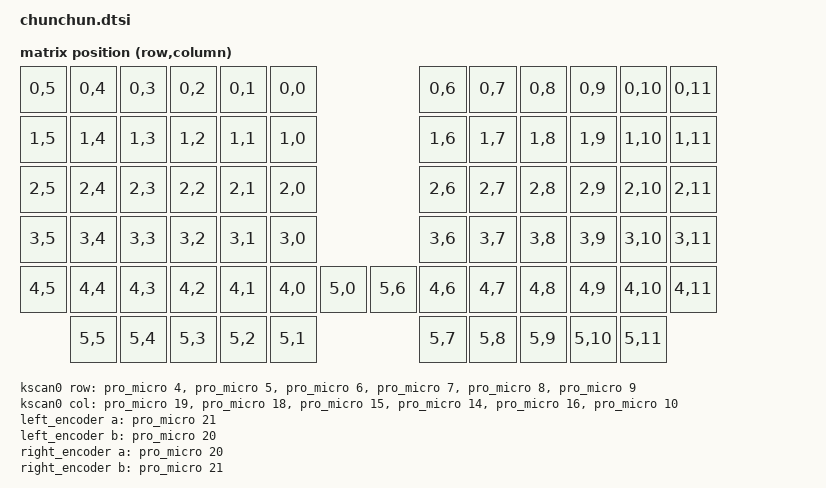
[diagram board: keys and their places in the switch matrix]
#include <dt-bindings/zmk/matrix_transform.h>
#include "phys_layout.dtsi"

&chunchun_layout {
    transform = <&default_transform>;
};


/ {

    chosen {
        zephyr,display = &oled;
        zmk,kscan = &kscan0;
    };

    default_transform: keymap_transform_0 {
        compatible = "zmk,matrix-transform";
        columns = <12>;
        rows = <6>;
        // | 6  | 5  | 4  | 3  | 2  | 1  |    |   |    | 1  | 2  | 3  | 4  | 5  | 6  |
        // | 12 | 11 | 10 | 9  | 8  | 7  |    |   |    | 7  | 8  | 9  | 10 | 11 | 12 |
        // | 18 | 17 | 16 | 15 | 14 | 13 |    |   |    | 13 | 14 | 15 | 16 | 17 | 18 |
        // | 24 | 23 | 22 | 21 | 20 | 19 |    |   |    | 19 | 20 | 21 | 22 | 23 | 24 |
        // | 30 | 29 | 28 | 27 | 26 | 25 | 31 |   | 31 | 25 | 26 | 27 | 28 | 29 | 30 |
        // |    | 36 | 35 | 34 | 33 | 32 |    |   |    | 32 | 33 | 34 | 35 | 36 |    |

        map = <
            RC(0,5) RC(0,4) RC(0,3) RC(0,2) RC(0,1) RC(0,0)                     RC(0,6) RC(0,7) RC(0,8) RC(0,9) RC(0,10) RC(0,11)
            RC(1,5) RC(1,4) RC(1,3) RC(1,2) RC(1,1) RC(1,0)                     RC(1,6) RC(1,7) RC(1,8) RC(1,9) RC(1,10) RC(1,11)
            RC(2,5) RC(2,4) RC(2,3) RC(2,2) RC(2,1) RC(2,0)                     RC(2,6) RC(2,7) RC(2,8) RC(2,9) RC(2,10) RC(2,11)
            RC(3,5) RC(3,4) RC(3,3) RC(3,2) RC(3,1) RC(3,0)                     RC(3,6) RC(3,7) RC(3,8) RC(3,9) RC(3,10) RC(3,11)
            RC(4,5) RC(4,4) RC(4,3) RC(4,2) RC(4,1) RC(4,0) RC(5, 0)    RC(5,6) RC(4,6) RC(4,7) RC(4,8) RC(4,9) RC(4,10) RC(4,11)
                    RC(5,5) RC(5,4) RC(5,3) RC(5,2) RC(5,1)                     RC(5,7) RC(5,8) RC(5,9) RC(5,10) RC(5,11)
        >;

    };


    kscan0: kscan {
        compatible = "zmk,kscan-gpio-matrix";
        wakeup-source;

        diode-direction = "row2col";
        row-gpios
            = <&pro_micro 4 (GPIO_ACTIVE_HIGH | GPIO_PULL_DOWN)>,
              <&pro_micro 5 (GPIO_ACTIVE_HIGH | GPIO_PULL_DOWN)>,
              <&pro_micro 6 (GPIO_ACTIVE_HIGH | GPIO_PULL_DOWN)>,
              <&pro_micro 7 (GPIO_ACTIVE_HIGH | GPIO_PULL_DOWN)>,
              <&pro_micro 8 (GPIO_ACTIVE_HIGH | GPIO_PULL_DOWN)>,
              <&pro_micro 9 (GPIO_ACTIVE_HIGH | GPIO_PULL_DOWN)>;

        col-gpios
            = <&pro_micro 19 (GPIO_ACTIVE_HIGH | GPIO_PULL_DOWN)>,
              <&pro_micro 18 (GPIO_ACTIVE_HIGH | GPIO_PULL_DOWN)>,
              <&pro_micro 15 (GPIO_ACTIVE_HIGH | GPIO_PULL_DOWN)>,
              <&pro_micro 14 (GPIO_ACTIVE_HIGH | GPIO_PULL_DOWN)>,
              <&pro_micro 16 (GPIO_ACTIVE_HIGH | GPIO_PULL_DOWN)>,
              <&pro_micro 10 (GPIO_ACTIVE_HIGH | GPIO_PULL_DOWN)>;
    };


    left_encoder: encoder_left {
        compatible = "alps,ec11";
        a-gpios = <&pro_micro 21 (GPIO_ACTIVE_HIGH | GPIO_PULL_UP)>;
        b-gpios = <&pro_micro 20 (GPIO_ACTIVE_HIGH | GPIO_PULL_UP)>;
        steps = <80>;
        status = "disabled";
    };

    right_encoder: encoder_right {
        compatible = "alps,ec11";
        a-gpios = <&pro_micro 20 (GPIO_ACTIVE_HIGH | GPIO_PULL_UP)>;
        b-gpios = <&pro_micro 21 (GPIO_ACTIVE_HIGH | GPIO_PULL_UP)>;
        steps = <80>;
        status = "disabled";
    };

    sensors: sensors {
        compatible = "zmk,keymap-sensors";
        sensors = <&left_encoder &right_encoder>;
        triggers-per-rotation = <20>;
    };
};

&pro_micro_i2c {
    status = "okay";

    oled: ssd1306@3c {
        compatible = "solomon,ssd1306fb";
        reg = <0x3c>;
        width = <128>;
        height = <32>;
        segment-offset = <0>;
        page-offset = <0>;
        display-offset = <0>;
        multiplex-ratio = <31>;
        segment-remap;
        com-invdir;
        com-sequential;
        inversion-on;
        prechargep = <0x22>;
    };
};
